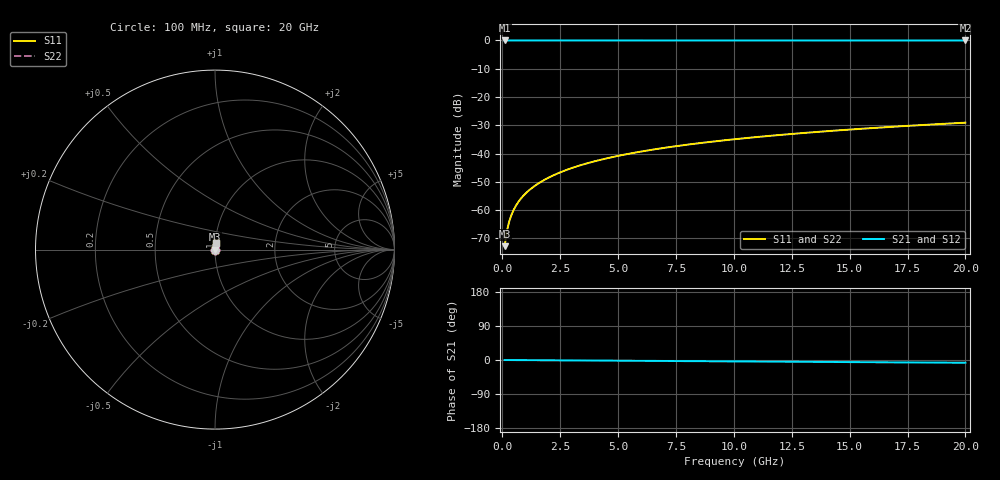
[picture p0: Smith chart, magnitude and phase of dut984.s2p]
! Touchstone file exported from HFSS 2026.1.0
!  File:  C:/ffzhzh/LocalFiles/Ansys_Project_Files/temp_train_TSV_984_1783188057_18472.aedt
!  Generated:  02:02:13 AM Jul  5, 2026
!  Design:  TSV
!  Project:  temp_train_TSV_984_1783188057_18472
! Variables:
!  h_bsmrdl = 2um
!  h_ox = 20um
!  h_rdl = 5um
!  h_sub = 63.9um
!  h_tmrdl = 5um
!  h_tsv = 63.9um
!  h_via = 3um
!  l_bsmrdl = 300um
!  l_sub = 421.2um
!  l_tmrdl = 200um
!  m_sub = 200um
!  pitch = 58.8um
!  r_tsv = 10.6um
!  s_tmrdl = 10um
!  w_bsmrdl = 18um
!  w_sub = 500um
!  w_tmrdl = 12um
!  x_tsv_center1 = 206um
!  x_tsv_center2 = 524um
!  x_tsv_center3 = 736um
!  x_tsv_center4 = 1054um
!  x_tsv_center5 = 1266um
!  x_tsv_center6 = 1584um
# GHz S MA R 50.000000
! Terminal data exported
! Port[1] = TSV1_1_T1
! Port[2] = TSV1_1_T2
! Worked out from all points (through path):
!   200 points, 100 MHz to 20 GHz, reference 50 ohm
!   highest |S21| = 0.00 dB at 100 MHz (marker M1); lowest = 0.0 dB at 20 GHz (marker M2)
!   group delay of S21, straight-line fit = 1.02 ps
!   lowest |S11| = -72.7 dB at 100 MHz (marker M3), VSWR 1.00, Z = 50 + j0.021 ohm
!   |S11| at or under -10 dB: start of sweep to end of sweep
!   |S22| runs from -72.7 to -29.1 dB; largest |S21 - S12| = 3.2e-15
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0.1  0.0002309 65.3  0.9999 -0.0  0.9999 -0.0  0.0002309 65.3
! Gamma 0 0 0 0
! Port Impedance 50 0 50 0
0.2  0.0004306 75.7  0.9999 -0.1  0.9999 -0.1  0.0004306 75.7
0.3  0.0006328 79.1  0.9999 -0.1  0.9999 -0.1  0.0006328 79.1
0.4  0.0008324 80.5  0.9999 -0.2  0.9999 -0.2  0.0008324 80.5
0.5  0.001028 81.2  0.9998 -0.2  0.9998 -0.2  0.001028 81.2
0.6  0.00122 81.7  0.9998 -0.2  0.9998 -0.2  0.00122 81.7
0.7  0.001409 82.0  0.9998 -0.3  0.9998 -0.3  0.001409 82.0
0.9  0.001779 82.6  0.9998 -0.3  0.9998 -0.3  0.001779 82.6
1.1  0.002143 83.0  0.9998 -0.4  0.9998 -0.4  0.002143 83.0
1.3  0.002503 83.4  0.9997 -0.5  0.9997 -0.5  0.002503 83.4
1.6  0.003042 83.9  0.9997 -0.6  0.9997 -0.6  0.003042 83.9
1.9  0.00358 84.2  0.9997 -0.7  0.9997 -0.7  0.00358 84.2
2.6  0.004835 84.8  0.9996 -1.0  0.9996 -1.0  0.004835 84.8
3.5  0.006445 85.0  0.9996 -1.3  0.9996 -1.3  0.006445 85.0
4.2  0.007692 85.1  0.9995 -1.6  0.9995 -1.6  0.007692 85.1
5  0.009112 85.1  0.9995 -1.8  0.9995 -1.8  0.009112 85.1
6.8  0.01229 84.8  0.9993 -2.5  0.9993 -2.5  0.01229 84.8
8.3  0.01492 84.5  0.9992 -3.1  0.9992 -3.1  0.01492 84.5
10.1  0.01807 84.1  0.9991 -3.7  0.9991 -3.7  0.01807 84.1
13.4  0.02382 83.1  0.9989 -4.9  0.9989 -4.9  0.02382 83.1
16.7  0.02953 82.1  0.9987 -6.1  0.9987 -6.1  0.02953 82.1
20  0.03521 81.1  0.9984 -7.3  0.9984 -7.3  0.03521 81.1
